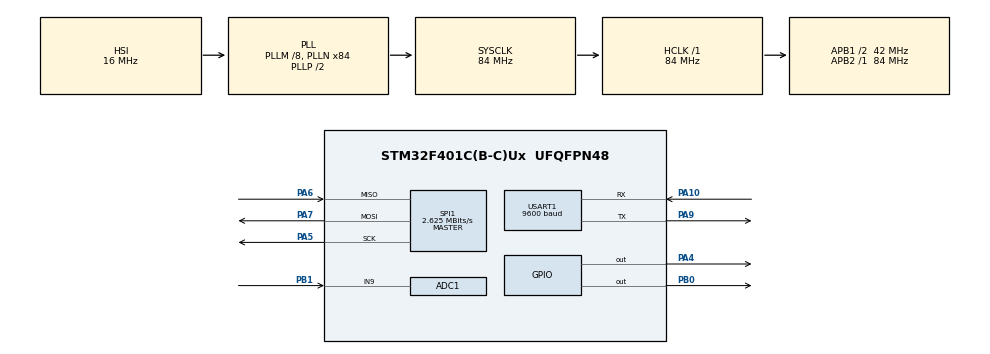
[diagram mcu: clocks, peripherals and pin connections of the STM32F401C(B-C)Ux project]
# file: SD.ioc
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ADC1.Channel-0\#ChannelRegularConversion=ADC_CHANNEL_9
ADC1.ContinuousConvMode=ENABLE
ADC1.NbrOfConversionFlag=1
ADC1.Rank-0\#ChannelRegularConversion=1
ADC1.SamplingTime-0\#ChannelRegularConversion=ADC_SAMPLETIME_3CYCLES
ADC1.master=1
FATFS._MAX_SS=4096
FATFS._USE_LFN=1
Mcu.Family=STM32F4
Mcu.Name=STM32F401C(B-C)Ux
Mcu.Package=UFQFPN48
NVIC.PriorityGroup=NVIC_PRIORITYGROUP_4
PA10.Mode=Asynchronous
PA10.Signal=USART1_RX
PA13.Mode=Serial_Wire
PA13.Signal=SYS_JTMS-SWDIO
PA14.Mode=Serial_Wire
PA14.Signal=SYS_JTCK-SWCLK
PA4.Signal=GPIO_Output
PA5.Mode=Full_Duplex_Master
PA5.Signal=SPI1_SCK
PA6.Mode=Full_Duplex_Master
PA6.Signal=SPI1_MISO
PA7.Mode=Full_Duplex_Master
PA7.Signal=SPI1_MOSI
PA9.Mode=Asynchronous
PA9.Signal=USART1_TX
PB0.Signal=GPIO_Output
PB1.Signal=ADCx_IN9
PH0\ -\ OSC_IN.Mode=HSE-External-Oscillator
PH0\ -\ OSC_IN.Signal=RCC_OSC_IN
PH1\ -\ OSC_OUT.Mode=HSE-External-Oscillator
PH1\ -\ OSC_OUT.Signal=RCC_OSC_OUT
ProjectManager.HeapSize=0x200
ProjectManager.StackSize=0x400
ProjectManager.TargetToolchain=STM32CubeIDE
RCC.48MHZClocksFreq_Value=42000000
RCC.AHBFreq_Value=84000000
RCC.APB1CLKDivider=RCC_HCLK_DIV2
RCC.APB1Freq_Value=42000000
RCC.APB1TimFreq_Value=84000000
RCC.APB2Freq_Value=84000000
RCC.APB2TimFreq_Value=84000000
RCC.CortexFreq_Value=84000000
RCC.HCLKFreq_Value=84000000
RCC.HSE_VALUE=25000000
RCC.HSI_VALUE=16000000
RCC.LSE_VALUE=32768
RCC.PLLM=8
RCC.PLLN=84
RCC.SYSCLKFreq_VALUE=84000000
RCC.SYSCLKSource=RCC_SYSCLKSOURCE_PLLCLK
RCC.VCOOutputFreq_Value=168000000
SH.ADCx_IN9.0=ADC1_IN9,IN9
SPI1.BaudRatePrescaler=SPI_BAUDRATEPRESCALER_32
SPI1.CalculateBaudRate=2.625 MBits/s
SPI1.Direction=SPI_DIRECTION_2LINES
SPI1.Mode=SPI_MODE_MASTER
SPI1.VirtualType=VM_MASTER
USART1.BaudRate=9600
USART1.VirtualMode=VM_ASYNC
VP_FATFS_VS_Generic.Mode=User_defined
VP_TIM1_VS_ClockSourceITR.Mode=TriggerSource_ITR1
VP_TIM2_VS_ClockSourceITR.Mode=TriggerSource_ITR0
board=custom

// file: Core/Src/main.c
/* USER CODE BEGIN Header */
/**
 ******************************************************************************
 * @file           : main.c
 * @brief          : Main program body
 ******************************************************************************
 * @attention
 *
 * Copyright (c) 2024 STMicroelectronics.
 * All rights reserved.
 *
 * This software is licensed under terms that can be found in the LICENSE file
 * in the root directory of this software component.
 * If no LICENSE file comes with this software, it is provided AS-IS.
 *
 ******************************************************************************
 */
/* USER CODE END Header */
#include "main.h"
#include "fatfs.h"

/* USER CODE BEGIN Includes */
#include "fatfs_sd.h"
#include "string.h"
#include "stdio.h"

/* USER CODE END Includes */

ADC_HandleTypeDef hadc1;

SPI_HandleTypeDef hspi1;

TIM_HandleTypeDef htim1;
TIM_HandleTypeDef htim2;

UART_HandleTypeDef huart1;

void SystemClock_Config(void);
static void MX_GPIO_Init(void);
static void MX_SPI1_Init(void);
static void MX_USART1_UART_Init(void);
static void MX_TIM1_Init(void);
static void MX_TIM2_Init(void);
static void MX_ADC1_Init(void);

/* USER CODE BEGIN 0 */
FATFS fs;  // file system
FIL fil; // File
FILINFO fno;
FRESULT fresult;  // result
UINT br, bw;  // File read/write count

/**** capacity related *****/
FATFS *pfs;
DWORD fre_clust;
uint32_t total, free_space;

#define BUFFER_SIZE 128
char buffer[BUFFER_SIZE];  // to store strings..

int i = 0;

int bufsize(char *buf) {
	int i = 0;
	while (*buf++ != '\0')
		i++;
	return i;
}

void clear_buffer(void) {
	for (int i = 0; i < BUFFER_SIZE; i++)
		buffer[i] = '\0';
}

void send_uart(char *string) {
	uint8_t len = strlen(string);
	HAL_UART_Transmit(&huart1, (uint8_t*) string, len, HAL_MAX_DELAY); // transmit in blocking mode
}
float read_temperature(void) {
	uint32_t adc_value;
	float temperature;

	// Start ADC conversion
	HAL_ADC_Start(&hadc1);
	HAL_ADC_PollForConversion(&hadc1, HAL_MAX_DELAY);
	adc_value = HAL_ADC_GetValue(&hadc1);

	// Convert ADC value to temperature
	// Assuming a linear conversion and a 3.3V reference voltage
	temperature = (adc_value * 3.3 / 4095) * 100;  // Example conversion formula

	return temperature;
}

void write_temperature_to_file(float temperature) {
	char buffer[32];
	snprintf(buffer, sizeof(buffer), "Temperature: %.2f C\n", temperature);

	//send to serial

	// Open file, append data, and close file
	f_open(&fil, "temperature.txt", FA_OPEN_ALWAYS | FA_WRITE | FA_READ);
	f_lseek(&fil, f_size(&fil));
	f_puts(buffer, &fil);
	f_close(&fil);
}

/* USER CODE END 0 */

int main(void) {

	/* MCU Configuration--------------------------------------------------------*/

	/* Reset of all peripherals, Initializes the Flash interface and the Systick. */
	HAL_Init();

	/* Configure the system clock */
	SystemClock_Config();

	/* Initialize all configured peripherals */
	MX_GPIO_Init();
	MX_SPI1_Init();
	MX_USART1_UART_Init();
	MX_FATFS_Init();
	MX_TIM1_Init();
	MX_TIM2_Init();
	MX_ADC1_Init();
	/* USER CODE BEGIN 2 */
	HAL_Delay(500);

	fresult = f_mount(&fs, "/", 1);
	if (fresult != FR_OK)
		send_uart("ERROR!!! in mounting SD CARD...\n\n");
	else
		send_uart("SD CARD mounted successfully...\n\n");

	/* USER CODE END 2 */

	/* Infinite loop */
	/* USER CODE BEGIN WHILE */
	while (1) {
		float temperature = read_temperature();
		write_temperature_to_file(temperature);
		HAL_Delay(5000);  // Wait for 5 seconds
		/* USER CODE END WHILE */

	}
}

void SystemClock_Config(void) {
	RCC_OscInitTypeDef RCC_OscInitStruct = { 0 };
	RCC_ClkInitTypeDef RCC_ClkInitStruct = { 0 };

	/** Configure the main internal regulator output voltage
	 */
	__HAL_RCC_PWR_CLK_ENABLE();
	__HAL_PWR_VOLTAGESCALING_CONFIG(PWR_REGULATOR_VOLTAGE_SCALE2);

	/** Initializes the RCC Oscillators according to the specified parameters
	 * in the RCC_OscInitTypeDef structure.
	 */
	RCC_OscInitStruct.OscillatorType = RCC_OSCILLATORTYPE_HSI;
	RCC_OscInitStruct.HSIState = RCC_HSI_ON;
	RCC_OscInitStruct.HSICalibrationValue = RCC_HSICALIBRATION_DEFAULT;
	RCC_OscInitStruct.PLL.PLLState = RCC_PLL_ON;
	RCC_OscInitStruct.PLL.PLLSource = RCC_PLLSOURCE_HSI;
	RCC_OscInitStruct.PLL.PLLM = 8;
	RCC_OscInitStruct.PLL.PLLN = 84;
	RCC_OscInitStruct.PLL.PLLP = RCC_PLLP_DIV2;
	RCC_OscInitStruct.PLL.PLLQ = 4;
	if (HAL_RCC_OscConfig(&RCC_OscInitStruct) != HAL_OK) {
		Error_Handler();
	}

	/** Initializes the CPU, AHB and APB buses clocks
	 */
	RCC_ClkInitStruct.ClockType = RCC_CLOCKTYPE_HCLK | RCC_CLOCKTYPE_SYSCLK
			| RCC_CLOCKTYPE_PCLK1 | RCC_CLOCKTYPE_PCLK2;
	RCC_ClkInitStruct.SYSCLKSource = RCC_SYSCLKSOURCE_PLLCLK;
	RCC_ClkInitStruct.AHBCLKDivider = RCC_SYSCLK_DIV1;
	RCC_ClkInitStruct.APB1CLKDivider = RCC_HCLK_DIV2;
	RCC_ClkInitStruct.APB2CLKDivider = RCC_HCLK_DIV1;

	if (HAL_RCC_ClockConfig(&RCC_ClkInitStruct, FLASH_LATENCY_2) != HAL_OK) {
		Error_Handler();
	}
}

static void MX_ADC1_Init(void) {

	ADC_ChannelConfTypeDef sConfig = { 0 };

	/** Configure the global features of the ADC (Clock, Resolution, Data Alignment and number of conversion)
	 */
	hadc1.Instance = ADC1;
	hadc1.Init.ClockPrescaler = ADC_CLOCK_SYNC_PCLK_DIV4;
	hadc1.Init.Resolution = ADC_RESOLUTION_12B;
	hadc1.Init.ScanConvMode = DISABLE;
	hadc1.Init.ContinuousConvMode = ENABLE;
	hadc1.Init.DiscontinuousConvMode = DISABLE;
	hadc1.Init.ExternalTrigConvEdge = ADC_EXTERNALTRIGCONVEDGE_NONE;
	hadc1.Init.ExternalTrigConv = ADC_SOFTWARE_START;
	hadc1.Init.DataAlign = ADC_DATAALIGN_RIGHT;
	hadc1.Init.NbrOfConversion = 1;
	hadc1.Init.DMAContinuousRequests = DISABLE;
	hadc1.Init.EOCSelection = ADC_EOC_SINGLE_CONV;
	if (HAL_ADC_Init(&hadc1) != HAL_OK) {
		Error_Handler();
	}

	/** Configure for the selected ADC regular channel its corresponding rank in the sequencer and its sample time.
	 */
	sConfig.Channel = ADC_CHANNEL_9;
	sConfig.Rank = 1;
	sConfig.SamplingTime = ADC_SAMPLETIME_3CYCLES;
	if (HAL_ADC_ConfigChannel(&hadc1, &sConfig) != HAL_OK) {
		Error_Handler();
	}

}

static void MX_SPI1_Init(void) {

	/* SPI1 parameter configuration*/
	hspi1.Instance = SPI1;
	hspi1.Init.Mode = SPI_MODE_MASTER;
	hspi1.Init.Direction = SPI_DIRECTION_2LINES;
	hspi1.Init.DataSize = SPI_DATASIZE_8BIT;
	hspi1.Init.CLKPolarity = SPI_POLARITY_LOW;
	hspi1.Init.CLKPhase = SPI_PHASE_1EDGE;
	hspi1.Init.NSS = SPI_NSS_SOFT;
	hspi1.Init.BaudRatePrescaler = SPI_BAUDRATEPRESCALER_32;
	hspi1.Init.FirstBit = SPI_FIRSTBIT_MSB;
	hspi1.Init.TIMode = SPI_TIMODE_DISABLE;
	hspi1.Init.CRCCalculation = SPI_CRCCALCULATION_DISABLE;
	hspi1.Init.CRCPolynomial = 10;
	if (HAL_SPI_Init(&hspi1) != HAL_OK) {
		Error_Handler();
	}

}

static void MX_TIM1_Init(void) {

	TIM_SlaveConfigTypeDef sSlaveConfig = { 0 };
	TIM_MasterConfigTypeDef sMasterConfig = { 0 };

	htim1.Instance = TIM1;
	htim1.Init.Prescaler = 0;
	htim1.Init.CounterMode = TIM_COUNTERMODE_UP;
	htim1.Init.Period = 65535;
	htim1.Init.ClockDivision = TIM_CLOCKDIVISION_DIV1;
	htim1.Init.RepetitionCounter = 0;
	htim1.Init.AutoReloadPreload = TIM_AUTORELOAD_PRELOAD_DISABLE;
	if (HAL_TIM_Base_Init(&htim1) != HAL_OK) {
		Error_Handler();
	}
	sSlaveConfig.SlaveMode = TIM_SLAVEMODE_DISABLE;
	sSlaveConfig.InputTrigger = TIM_TS_ITR1;
	if (HAL_TIM_SlaveConfigSynchro(&htim1, &sSlaveConfig) != HAL_OK) {
		Error_Handler();
	}
	sMasterConfig.MasterOutputTrigger = TIM_TRGO_RESET;
	sMasterConfig.MasterSlaveMode = TIM_MASTERSLAVEMODE_DISABLE;
	if (HAL_TIMEx_MasterConfigSynchronization(&htim1, &sMasterConfig)
			!= HAL_OK) {
		Error_Handler();
	}

}

static void MX_TIM2_Init(void) {

	TIM_SlaveConfigTypeDef sSlaveConfig = { 0 };
	TIM_MasterConfigTypeDef sMasterConfig = { 0 };

	htim2.Instance = TIM2;
	htim2.Init.Prescaler = 0;
	htim2.Init.CounterMode = TIM_COUNTERMODE_UP;
	htim2.Init.Period = 4294967295;
	htim2.Init.ClockDivision = TIM_CLOCKDIVISION_DIV1;
	htim2.Init.AutoReloadPreload = TIM_AUTORELOAD_PRELOAD_DISABLE;
	if (HAL_TIM_Base_Init(&htim2) != HAL_OK) {
		Error_Handler();
	}
	sSlaveConfig.SlaveMode = TIM_SLAVEMODE_DISABLE;
	sSlaveConfig.InputTrigger = TIM_TS_ITR0;
	if (HAL_TIM_SlaveConfigSynchro(&htim2, &sSlaveConfig) != HAL_OK) {
		Error_Handler();
	}
	sMasterConfig.MasterOutputTrigger = TIM_TRGO_RESET;
	sMasterConfig.MasterSlaveMode = TIM_MASTERSLAVEMODE_DISABLE;
	if (HAL_TIMEx_MasterConfigSynchronization(&htim2, &sMasterConfig)
			!= HAL_OK) {
		Error_Handler();
	}

}

static void MX_USART1_UART_Init(void) {

	huart1.Instance = USART1;
	huart1.Init.BaudRate = 9600;
	huart1.Init.WordLength = UART_WORDLENGTH_8B;
	huart1.Init.StopBits = UART_STOPBITS_1;
	huart1.Init.Parity = UART_PARITY_NONE;
	huart1.Init.Mode = UART_MODE_TX_RX;
	huart1.Init.HwFlowCtl = UART_HWCONTROL_NONE;
	huart1.Init.OverSampling = UART_OVERSAMPLING_16;
	if (HAL_UART_Init(&huart1) != HAL_OK) {
		Error_Handler();
	}

}

static void MX_GPIO_Init(void) {
	GPIO_InitTypeDef GPIO_InitStruct = { 0 };

	/* GPIO Ports Clock Enable */
	__HAL_RCC_GPIOH_CLK_ENABLE();
	__HAL_RCC_GPIOA_CLK_ENABLE();
	__HAL_RCC_GPIOB_CLK_ENABLE();

	/*Configure GPIO pin Output Level */
	HAL_GPIO_WritePin(GPIOA, GPIO_PIN_4, GPIO_PIN_RESET);

	/*Configure GPIO pin Output Level */
	HAL_GPIO_WritePin(GPIOB, GPIO_PIN_0, GPIO_PIN_RESET);

	/*Configure GPIO pin : PA4 */
	GPIO_InitStruct.Pin = GPIO_PIN_4;
	GPIO_InitStruct.Mode = GPIO_MODE_OUTPUT_PP;
	GPIO_InitStruct.Pull = GPIO_NOPULL;
	GPIO_InitStruct.Speed = GPIO_SPEED_FREQ_LOW;
	HAL_GPIO_Init(GPIOA, &GPIO_InitStruct);

	/*Configure GPIO pin : PB0 */
	GPIO_InitStruct.Pin = GPIO_PIN_0;
	GPIO_InitStruct.Mode = GPIO_MODE_OUTPUT_PP;
	GPIO_InitStruct.Pull = GPIO_NOPULL;
	GPIO_InitStruct.Speed = GPIO_SPEED_FREQ_LOW;
	HAL_GPIO_Init(GPIOB, &GPIO_InitStruct);

}

void Error_Handler(void) {
	__disable_irq();
	while (1) {
	}
}
